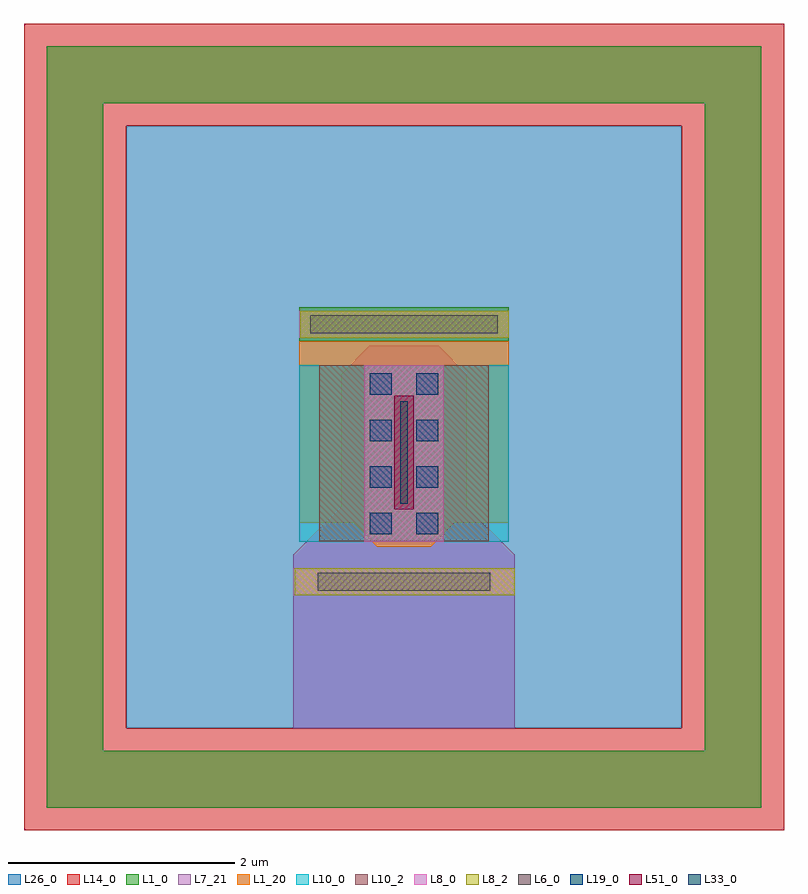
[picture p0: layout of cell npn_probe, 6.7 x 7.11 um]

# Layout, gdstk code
import gdstk
lib = gdstk.Library(unit=1e-6, precision=1e-09)
def R(c, l, rs):  # rectangles x0, y0, x1, y1
    for r in rs: c.add(gdstk.rectangle(r[:2], r[2:], *l))
def A(c, l, x, y, w, h, nx, ny, dx, dy):  # array of equal rectangles
    R(c, l, [(x+i*dx, y+j*dy, x+i*dx+w, y+j*dy+h) for i in range(nx) for j in range(ny)])
def P(c, l, *ps):  # polygons
    for p in ps: c.add(gdstk.Polygon(p, *l))
L1_0 = (1, 0)
L1_20 = (1, 20)
L6_0 = (6, 0)
L7_21 = (7, 21)
L8_0 = (8, 0)
L8_2 = (8, 2)
L10_0 = (10, 0)
L10_2 = (10, 2)
L14_0 = (14, 0)
L19_0 = (19, 0)
L26_0 = (26, 0)
L33_0 = (33, 0)
L51_0 = (51, 0)

npn_probe = lib.new_cell('npn_probe')
R(npn_probe, L1_0, [(-0.925,0.98,0.925,1.28)])
P(npn_probe, L1_0, [(-3.15,-3.13),(-3.15,3.58),(2.65,3.58),(2.65,3.08),(-2.65,3.08),(-2.65,-2.63),(2.65,-2.63),(2.65,3.58),(3.15,3.58),(3.15,-3.13)])
P(npn_probe, L1_20, [(-0.235,-0.83),(-0.445,-0.62),(-0.925,-0.62),(-0.925,0.98),(0.925,0.98),(0.925,-0.62),(0.445,-0.62),(0.235,-0.83)])
R(npn_probe, L6_0, [(-0.76,-1.22,0.76,-1.06), (-0.825,1.05,0.825,1.21)])
P(npn_probe, L7_21, [(-0.975,-2.43),(-0.975,-0.9),(-0.555,-0.48),(-0.555,0.69),(-0.305,0.94),(0.305,0.94),(0.555,0.69),(0.555,-0.48),(0.975,-0.9),(0.975,-2.43)])
R(npn_probe, L8_0, [(-0.975,-1.26,0.975,-1.02), (-0.35,-0.785,0.35,0.77), (-0.925,1.01,0.925,1.25)])
R(npn_probe, L8_2, [(-0.965,-1.26,0.975,-1.02), (-0.915,1.01,0.925,1.25)])
R(npn_probe, L10_0, [(-0.925,-0.785,0.925,0.77)])
R(npn_probe, L10_2, [(-0.745,-0.78,0.745,0.77)])
P(npn_probe, L14_0, [(-3.35,-3.33),(-3.35,3.78),(2.45,3.78),(2.45,2.88),(-2.45,2.88),(-2.45,-2.43),(2.45,-2.43),(2.45,3.78),(3.35,3.78),(3.35,-3.33)])
A(npn_probe, L19_0, -0.3, -0.72, 0.19, 0.19, 1, 4, 0, 0.41)
A(npn_probe, L19_0, 0.11, -0.72, 0.19, 0.19, 1, 4, 0, 0.41)
R(npn_probe, L26_0, [(-2.45,-2.43,2.45,2.88)])
R(npn_probe, L33_0, [(-0.035,-0.45,0.035,0.45), (-0.035,-0.45,0.035,0.45)])
R(npn_probe, L51_0, [(-0.085,-0.5,0.085,0.5)])

lib.write_gds('npn_probe.gds')
